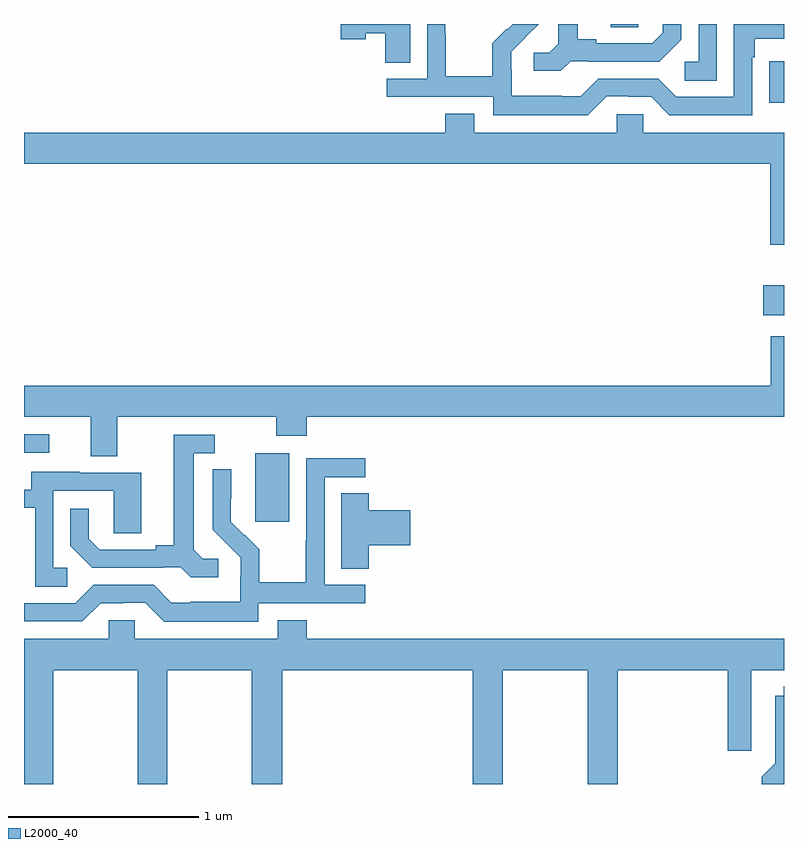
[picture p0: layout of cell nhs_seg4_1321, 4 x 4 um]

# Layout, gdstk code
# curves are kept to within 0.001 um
import gdstk
lib = gdstk.Library(unit=1e-6, precision=1e-09)
def R(c, l, rs):  # rectangles x0, y0, x1, y1
    for r in rs: c.add(gdstk.rectangle(r[:2], r[2:], *l))
def P(c, l, *ps):  # polygons
    for p in ps: c.add(gdstk.Polygon(p, *l))
L2000_40 = (2000, 40)

nhs_seg4_1321 = lib.new_cell('nhs_seg4_1321')
R(nhs_seg4_1321, L2000_40, [(180.218,784.281,180.397,784.642), (179,784.644,179.134,784.74), (182.892,785.366,183,785.524), (182.923,786.486,183,786.704), (182.087,786.883,182.232,786.9)])
P(nhs_seg4_1321, L2000_40, [(181.878,786.705),(181.972,786.705),(181.972,786.702),(182.344,786.702),(182.46,786.818),(182.46,786.9),(182.363,786.9),(182.363,786.855),(182.306,786.798),(182.011,786.798),(182.011,786.821),(181.915,786.821),(181.915,786.9),(181.811,786.9),(181.811,786.797),(181.764,786.75),(181.683,786.75),(181.683,786.653),(181.826,786.653)],
  [(182.646,786.9),(182.55,786.9),(182.55,786.702),(182.478,786.702),(182.478,786.601),(182.646,786.601)],
  [(181.033,786.9),(180.668,786.9),(180.668,786.821),(180.798,786.821),(180.798,786.851),(180.902,786.851),(180.902,786.697),(181.033,786.697)],
  [(182.067,786.519),(182.183,786.519),(182.183,786.516),(182.301,786.516),(182.397,786.42),(182.832,786.42),(182.832,786.725),(182.845,786.725),(182.845,786.822),(183,786.822),(183,786.9),(182.736,786.9),(182.736,786.516),(182.433,786.516),(182.337,786.612),(182.022,786.612),(181.929,786.519),(181.829,786.519),(181.829,786.523),(181.566,786.523),(181.566,786.657),(181.564,786.657),(181.564,786.754),(181.708,786.9),(181.572,786.9),(181.545,786.873),(181.542,786.876),(181.465,786.799),(181.465,786.625),(181.221,786.625),(181.221,786.848),(181.218,786.848),(181.218,786.9),(181.122,786.9),(181.122,786.612),(180.909,786.612),(180.909,786.516),(181.47,786.516),(181.47,786.419),(181.967,786.419)],
  [(183,786.328),(182.259,786.328),(182.259,786.426),(182.121,786.426),(182.121,786.328),(181.369,786.328),(181.369,786.427),(181.217,786.427),(181.217,786.328),(179,786.328),(179,786.164),(182.927,786.164),(182.927,785.739),(183,785.739)],
  [(179.491,784.832),(180.328,784.832),(180.328,784.733),(180.488,784.733),(180.488,784.832),(183,784.832),(183,785.257),(182.929,785.257),(182.929,784.996),(179,784.996),(179,784.832),(179.351,784.832),(179.351,784.624),(179.491,784.624)],
  [(180.022,784.086),(179.94,784.086),(179.893,784.133),(179.893,784.641),(180.004,784.641),(180.004,784.737),(179.789,784.737),(179.789,784.157),(179.693,784.157),(179.693,784.134),(179.398,784.134),(179.341,784.191),(179.341,784.348),(179.244,784.348),(179.244,784.154),(179.36,784.038),(179.732,784.038),(179.732,784.041),(179.826,784.041),(179.878,783.989),(180.022,783.989)],
  [(180.234,783.852),(180.796,783.852),(180.796,783.948),(180.582,783.948),(180.582,784.515),(180.796,784.515),(180.796,784.614),(180.486,784.614),(180.486,784.184),(180.484,784.184),(180.484,783.961),(180.239,783.961),(180.239,784.135),(180.162,784.212),(180.159,784.209),(180.089,784.28),(180.09,784.556),(179.994,784.556),(179.994,784.238),(180.14,784.09),(180.14,783.993),(180.138,783.993),(180.138,783.859),(179.875,783.859),(179.875,783.855),(179.775,783.855),(179.682,783.948),(179.367,783.948),(179.271,783.852),(179,783.852),(179,783.756),(179.307,783.756),(179.403,783.852),(179.522,783.852),(179.522,783.855),(179.637,783.855),(179.737,783.755),(180.234,783.755)],
  [(179.227,784.038),(179.154,784.038),(179.154,784.443),(179.472,784.443),(179.472,784.219),(179.617,784.219),(179.617,784.539),(179.293,784.539),(179.293,784.543),(179.039,784.543),(179.039,784.449),(179,784.449),(179,784.353),(179.058,784.353),(179.058,783.937),(179.227,783.937)],
  [(180.815,784.157),(181.033,784.157),(181.033,784.34),(180.815,784.34),(180.815,784.43),(180.671,784.43),(180.671,784.033),(180.815,784.033)],
  [(179.154,783.5),(179.599,783.5),(179.599,782.9),(179.754,782.9),(179.754,783.5),(180.199,783.5),(180.199,782.9),(180.359,782.9),(180.359,783.5),(181.361,783.5),(181.361,782.9),(181.521,782.9),(181.521,783.5),(181.966,783.5),(181.966,782.9),(182.126,782.9),(182.126,783.5),(182.705,783.5),(182.705,783.075),(182.827,783.075),(182.827,783.5),(183,783.5),(183,783.664),(180.488,783.664),(180.488,783.763),(180.335,783.763),(180.335,783.664),(179.583,783.664),(179.583,783.762),(179.445,783.762),(179.445,783.664),(179,783.664),(179,782.9),(179.154,782.9)],
  [(183,783.415),(182.999,783.415),(182.999,783.364),(182.954,783.364),(182.954,783.01),(182.882,782.938),(182.882,782.9),(183,782.9)])

lib.write_gds('nhs_seg4_1321.gds')
